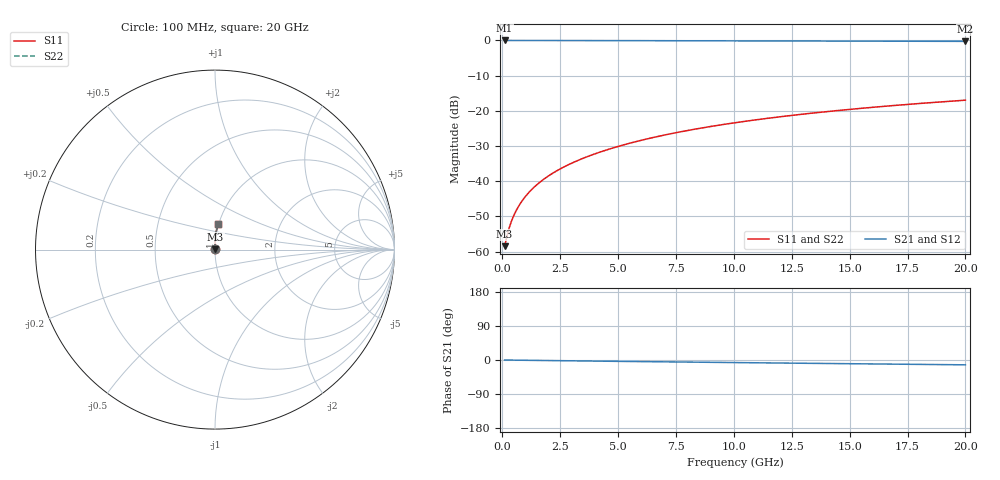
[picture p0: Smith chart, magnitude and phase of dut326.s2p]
! Touchstone file exported from HFSS 2024.1.0
!  File:  C:/UserFiles/LocalFiles/RDL_TSV_Batchsim/temp_RDL_bottom_326_1779611260.aedt
!  Generated:  04:30:15 PM May 24, 2026
!  Design:  RDL_bottom
!  Project:  temp_RDL_bottom_326_1779611260
!  Setup:  Setup1
!  Solution:  Sweep
! Variables:
!  dtsv = 10.80580581um
!  hbump = 3um
!  htsv = 56.1um
!  ldown = 149.81um
!  lrdl = 100um
!  p = 40
!  p1 = 50.39um
!  rhole = 1um
!  t = 450um
!  tdown = 2.98um
!  trdl = 3.915915916um
!  wdown = 25.2um
!  wrdl = 20um
# GHz S MA R 50.000000
! Terminal data exported
! Port[1] = RDL1_T1
! Port[2] = RDL1_T2
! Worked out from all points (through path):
!   200 points, 100 MHz to 20 GHz, reference 50 ohm
!   highest |S21| = -0.01 dB at 100 MHz (marker M1); lowest = -0.3 dB at 20 GHz (marker M2)
!   group delay of S21, straight-line fit = 1.75 ps
!   lowest |S11| = -58.5 dB at 100 MHz (marker M3), VSWR 1.00, Z = 50.1 + j0.0652 ohm
!   |S11| at or under -10 dB: start of sweep to end of sweep
!   |S22| runs from -58.5 to -17.0 dB; largest |S21 - S12| = 3.1e-15
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0.1  0.001191 33.1  0.999 -0.1  0.999 -0.1  0.001191 33.1
! Gamma 0 0 0 0
! Port Impedance 50 0 50 0
0.2  0.001648 51.1  0.999 -0.2  0.999 -0.2  0.001648 51.1
0.3  0.002176 60.4  0.9989 -0.2  0.9989 -0.2  0.002176 60.4
0.4  0.002719 65.9  0.9988 -0.3  0.9988 -0.3  0.002719 65.9
0.5  0.003267 69.7  0.9988 -0.4  0.9988 -0.4  0.003267 69.7
0.6  0.003818 72.5  0.9987 -0.5  0.9987 -0.5  0.003818 72.5
0.8  0.004931 76.5  0.9986 -0.6  0.9986 -0.6  0.004931 76.5
1.1  0.00663 80.3  0.9984 -0.8  0.9984 -0.8  0.00663 80.3
1.3  0.00778 82.1  0.9983 -1.0  0.9983 -1.0  0.00778 82.1
1.6  0.009528 84.1  0.9981 -1.2  0.9981 -1.2  0.009528 84.1
2.1  0.0125 86.3  0.9977 -1.5  0.9977 -1.5  0.0125 86.3
2.7  0.01616 88.0  0.997 -2.0  0.997 -2.0  0.01616 88.0
3.5  0.0212 89.5  0.996 -2.5  0.996 -2.5  0.0212 89.5
4.2  0.02576 90.3  0.995 -3.0  0.995 -3.0  0.02576 90.3
5  0.03114 90.9  0.9937 -3.6  0.9937 -3.6  0.03114 90.9
5.9  0.03737 91.1  0.9922 -4.2  0.9922 -4.2  0.03737 91.1
6.8  0.04376 91.1  0.9906 -4.8  0.9906 -4.8  0.04376 91.1
8.4  0.05541 90.5  0.9879 -5.8  0.9879 -5.8  0.05541 90.5
10.1  0.06803 89.6  0.985 -6.8  0.985 -6.8  0.06803 89.6
13.4  0.09275 87.2  0.9798 -8.8  0.9798 -8.8  0.09275 87.2
16.7  0.1173 84.7  0.9749 -10.8  0.9749 -10.8  0.1173 84.7
20  0.1415 82.2  0.97 -12.7  0.97 -12.7  0.1415 82.2
